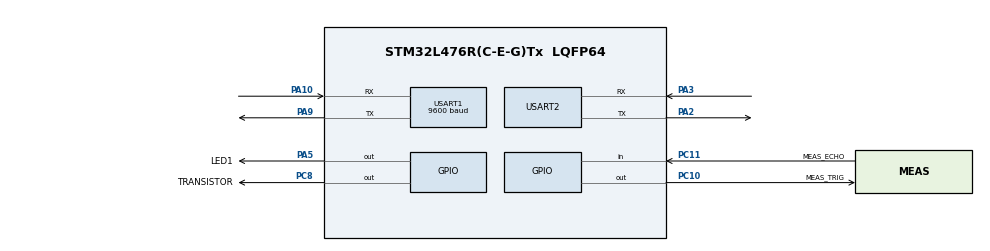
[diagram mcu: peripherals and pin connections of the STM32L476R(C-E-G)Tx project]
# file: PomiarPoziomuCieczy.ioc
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Mcu.Family=STM32L4
Mcu.Name=STM32L476R(C-E-G)Tx
Mcu.Package=LQFP64
NVIC.PriorityGroup=NVIC_PRIORITYGROUP_4
NVIC.RTC_WKUP_IRQn=true\:0\:0\:false\:false\:true\:true\:true\:true
NVIC.USART1_IRQn=true\:5\:0\:true\:false\:true\:true\:true\:true
PA10.Mode=Asynchronous
PA10.Signal=USART1_RX
PA13\ (JTMS-SWDIO).Mode=Serial_Wire
PA13\ (JTMS-SWDIO).Signal=SYS_JTMS-SWDIO
PA14\ (JTCK-SWCLK).Mode=Serial_Wire
PA14\ (JTCK-SWCLK).Signal=SYS_JTCK-SWCLK
PA2.Mode=Asynchronous
PA2.Signal=USART2_TX
PA3.Mode=Asynchronous
PA3.Signal=USART2_RX
PA5.GPIO_Label=LED1
PA5.Signal=GPIO_Output
PA9.Mode=Asynchronous
PA9.Signal=USART1_TX
PC10.GPIO_Label=MEAS_TRIG
PC10.Signal=GPIO_Output
PC11.GPIO_Label=MEAS_ECHO
PC11.GPIO_PuPd=GPIO_PULLDOWN
PC11.Signal=GPIO_Input
PC14-OSC32_IN\ (PC14).Mode=LSE-External-Oscillator
PC14-OSC32_IN\ (PC14).Signal=RCC_OSC32_IN
PC15-OSC32_OUT\ (PC15).Mode=LSE-External-Oscillator
PC15-OSC32_OUT\ (PC15).Signal=RCC_OSC32_OUT
PC8.GPIO_Label=TRANSISTOR
PC8.Signal=GPIO_Output
ProjectManager.HeapSize=0x200
ProjectManager.StackSize=0x400
ProjectManager.TargetToolchain=STM32CubeIDE
RCC.HSE_VALUE=8000000
RCC.HSI_VALUE=16000000
RCC.MSI_VALUE=4000000
RCC.RTCClockSelection=RCC_RTCCLKSOURCE_LSE
RCC.VCOOutputFreq_Value=32000000
RTC.WakeUpClock-WakeUp=RTC_WAKEUPCLOCK_CK_SPRE_16BITS
RTC.WakeUpCounter-WakeUp=3599
TIM6.Prescaler=3
USART1.BaudRate=9600
USART1.VirtualMode-Asynchronous=VM_ASYNC
USART2.VirtualMode-Asynchronous=VM_ASYNC
VP_RTC_VS_RTC_Activate.Mode=RTC_Enabled
VP_RTC_VS_RTC_WakeUp_intern.Mode=WakeUp
VP_TIM6_VS_ClockSourceINT.Mode=Enable_Timer
board=custom

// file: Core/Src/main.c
/* USER CODE BEGIN Header */
/**
  ******************************************************************************
  * @file           : main.c
  * @brief          : Main program body
  ******************************************************************************
  * @attention
  *
  * Copyright (c) 2023 STMicroelectronics.
  * All rights reserved.
  *
  * This software is licensed under terms that can be found in the LICENSE file
  * in the root directory of this software component.
  * If no LICENSE file comes with this software, it is provided AS-IS.
  *
  ******************************************************************************
  */
/* USER CODE END Header */
#include "main.h"
#include "rtc.h"
#include "tim.h"
#include "usart.h"
#include "gpio.h"

/* USER CODE BEGIN Includes */
#include <stdio.h>
/* USER CODE END Includes */

/* USER CODE BEGIN PD */
uint16_t MAX_DISTANCE_FROM_PROBE_CM;
uint16_t MIN_DISTANCE_FROM_PROBE_CM;
uint8_t  LoRaBufRX;
uint8_t  LoRaBufLongRX[5000];
uint16_t LoRaBufPosRX;

uint8_t test_GIT = 1;

uint8_t turnOffUART_flag = 0;

GPIO_InitTypeDef GPIO_BufStruct = {0};

volatile uint16_t __attribute__((section(".ram2"))) measurementsInterval = 19;
volatile uint32_t __attribute__((section(".ram2"))) isAfterResetFlag=1;

/*typedef struct {
	uint32_t testRAM2_val;
	uint32_t ARR[100];
}sram2_located_data;

sram2_located_data* sram2_data = (sram2_located_data*)SRAM2_BASE;	*/

char LORA_TEST_Conf[] = "AT+TEST=RFCFG,869.525,SF12,125,12,15,14,ON,OFF,OFF\r\n";//869.525
char LORA_TEST_TransmitContinuousLoRaSignal[] = "AT+TEST= TXCLORA\r\n";
char LORA_TEST_SendHex[] = "AT+TEST=TXLRPKT, ";
char LORA_TEST_SendString[] = "AT+TEST=TXLRSTR, \"LoRaWAN Modem\"\r\n";
char LORA_TEST_RX[] = "AT+TEST=RXLRPKT\r\n";
char LORA_RSSI_RSSI[] = "AT+TEST = RSSI, 869.525, 500\r\n";
char LORA_LOWPOWER[] = "AT+LOWPOWER\r\n";
char LORA_LOWPOWER_EXTR_ON[] = "AT+LOWPOWER=AUTOON\r\n";
char LORA_LOWPOWER_EXTR_OFF[] = {0xFF, 0xFF, 0xFF, 0xFF, 'A','T','+','L','O','W','P','O','W','E','R',0x3D,'A','U','T','O','O','F','F','\r','\n'};
char LORA_TEST_STOP[] = "AT+TEST=STOP\r\n";
char LORA_TEST_START[] = "AT+TEST=START\r\n";
char LORA_RESET[] = "AT+RESET\r\n";
/* USER CODE END PD */

void SystemClock_Config(void);

/* USER CODE BEGIN 0 */
uint16_t MEAS_meas_cm()
{
	HAL_GPIO_WritePin(MEAS_TRIG_GPIO_Port, MEAS_TRIG_Pin, GPIO_PIN_SET);
	HAL_TIM_Base_Start(&htim6);
	while(htim6.Instance->CNT < 10){} //MEAS_TRIG_Pin is HIGH for 10 us
	HAL_TIM_Base_Stop(&htim6);
	htim6.Instance->CNT = 0;
	HAL_GPIO_WritePin(MEAS_TRIG_GPIO_Port, MEAS_TRIG_Pin, GPIO_PIN_RESET); //MEAS_TRIG_Pin is LOW
	while(HAL_GPIO_ReadPin(MEAS_ECHO_GPIO_Port, MEAS_ECHO_Pin) == GPIO_PIN_RESET){} //Wait for ECHO_pin LOW
	HAL_TIM_Base_Start(&htim6);
	while(HAL_GPIO_ReadPin(MEAS_ECHO_GPIO_Port, MEAS_ECHO_Pin) == GPIO_PIN_SET){} //Wait for ECHO_pin is HIGH
	uint16_t measTime_us = htim6.Instance->CNT; //get time value
	HAL_TIM_Base_Stop(&htim6);
	htim6.Instance->CNT = 0;
	uint16_t distance_cm = measTime_us / 58; //count distance
	return distance_cm;
}

float MEAS_calculateAsPercent(uint16_t cmVal)
{
	return 100*((MIN_DISTANCE_FROM_PROBE_CM - MAX_DISTANCE_FROM_PROBE_CM) - (cmVal - MAX_DISTANCE_FROM_PROBE_CM))/(MIN_DISTANCE_FROM_PROBE_CM - MAX_DISTANCE_FROM_PROBE_CM);
}

void MEAS_measMaxDistance()
{
	MAX_DISTANCE_FROM_PROBE_CM = MEAS_meas_cm();
}

void MEAS_measMinDistance()
{
	MIN_DISTANCE_FROM_PROBE_CM = MEAS_meas_cm();
}

void MEAS_setMaxDistance(uint16_t maxVal)
{
	MAX_DISTANCE_FROM_PROBE_CM = maxVal;
}

void MEAS_setMinDistance(uint16_t minVal)
{
	MIN_DISTANCE_FROM_PROBE_CM = minVal;
}
/* USER CODE END 0 */

int main(void)
{
  /* USER CODE BEGIN 1 */
  GPIO_BufStruct.Mode = GPIO_MODE_INPUT;
  GPIO_BufStruct.Pull = GPIO_PULLDOWN;

  /* USER CODE END 1 */

  /* MCU Configuration--------------------------------------------------------*/

  /* Reset of all peripherals, Initializes the Flash interface and the Systick. */
  HAL_Init();

  /* Configure the system clock */
  SystemClock_Config();

  /* Initialize all configured peripherals */
  MX_GPIO_Init();
  MX_TIM6_Init();
  MX_USART2_UART_Init();
  MX_USART1_UART_Init();
  MX_RTC_Init();

  /* Infinite loop */
  /* USER CODE BEGIN WHILE */
  uint16_t resToSent;
  MIN_DISTANCE_FROM_PROBE_CM = 20;
  MAX_DISTANCE_FROM_PROBE_CM = 300;
  PWR->CR3 |= PWR_CR3_RRS;
  uint8_t buttonPressed;
  HAL_Delay(1000);
  HAL_UART_Receive_IT(&huart1, &LoRaBufRX, 1);
  //HAL_UART_Transmit_IT(&huart1, (uint8_t*)"A", 1); LORA_LOWPOWER_EXTR_OFF[]
  HAL_UART_Transmit_IT(&huart1, (uint8_t*)LORA_LOWPOWER_EXTR_OFF, sizeof(LORA_LOWPOWER_EXTR_OFF));
  HAL_Delay(500);
  HAL_UART_Transmit_IT(&huart1, (uint8_t*)LORA_TEST_START, strlen(LORA_TEST_START));
  HAL_Delay(500);
  HAL_UART_Transmit_IT(&huart1, (uint8_t*)"AT+MODE=TEST\r\n", 14);
  HAL_Delay(500);
  HAL_UART_Transmit_IT(&huart1, (uint8_t*)"AT+TEST=?\r\n", 11);
  HAL_Delay(500);
  HAL_UART_Transmit_IT(&huart1, LORA_TEST_Conf, strlen(LORA_TEST_Conf));
  //HAL_Delay(1000);
  //HAL_UART_Transmit_IT(&huart1, "AT+TEST=RXLRPKT\r\n", 17);
  HAL_Delay(1000);
  while (1)
  {
	  isAfterResetFlag = 1;
	  HAL_GPIO_WritePin(LED1_GPIO_Port, LED1_Pin, 1);
	  HAL_GPIO_WritePin(TRANSISTOR_GPIO_Port, TRANSISTOR_Pin, 1);
	  HAL_Delay(300);
	  uint8_t res = MEAS_meas_cm(); //MEAS_calculateAsPercent(MEAS_meas_cm());
	  	  	  ///HAL_UART_Transmit(&huart2, &(ram2Test), 1, HAL_MAX_DELAY);
	  HAL_Delay(1000);
	  HAL_GPIO_WritePin(TRANSISTOR_GPIO_Port, TRANSISTOR_Pin, 0);
	  MEAS_TRIG_GPIO_Port->MODER &= ~(GPIO_MODER_MEAS_TRIG_PIN);
	  //HAL_UART_Transmit_IT(&huart1, "AT+TEST=TXLRPKT, \"00 AA 11 BB 22 CC\"\r\n", strlen("AT+TEST=TXLRPKT, \"00 AA 11 BB 22 CC\"\r\n"));
	  HAL_Delay(50);
	  char LoRaFrame[200];
	  uint8_t len = sprintf(LoRaFrame, "AT+TEST=TXLRSTR,\"val: %i\"\r\n", (int)res);
	  HAL_UART_Transmit_IT(&huart1, (uint8_t*)LoRaFrame, len);
	  HAL_Delay(1800);//HAL_Delay(1000);
	  	  	  	  //HAL_UART_Transmit_IT(&huart1, (uint8_t*)LORA_TEST_STOP, strlen(LORA_TEST_STOP));
	  //turnOffUART_flag = 1;
	  if(1)
	  {
		  HAL_UART_Transmit_IT(&huart1, "AT+TEST=RXLRPKT\r\n", 17);
		  HAL_Delay(6000);
		  char* configDataRaw = strstr(LoRaBufLongRX, "56543D");
		  if(configDataRaw)
		  {
			char* configData = configDataRaw + 6;
			char hexFromFrame [9];
			for(uint8_t i = 0; i<8; i++)
			{
			  if((configData[i] >= '0' && configData[i] <= '9') || (configData[i] >= 'A' && configData[i] <= 'F'))
				hexFromFrame[i] = configData[i];
			  else
				break;
			}
			char hexToAscii[5] = {0,0,0,0,0};
			for(uint8_t i = 0; i<4; i++)
			{
				if(hexFromFrame[2*i] <= '9' && hexFromFrame[2*i] >= '0')
				{
				  hexToAscii[i] += 16 * (hexFromFrame[2*i] - '0');
				}
				if(hexFromFrame[2*i + 1] <= '9' && hexFromFrame[2*i + 1] >= '0')
				{
				  hexToAscii[i] += (hexFromFrame[2*i+1] - '0');
				}
			}
			uint16_t valFromUser = atoi(hexToAscii);
			measurementsInterval = 86400/valFromUser;
			HAL_RTCEx_DeactivateWakeUpTimer(&hrtc);
			if (HAL_RTCEx_SetWakeUpTimer_IT(&hrtc, measurementsInterval, RTC_WAKEUPCLOCK_CK_SPRE_16BITS) != HAL_OK)
			{
			  Error_Handler();
			}
		  }
		  HAL_UART_Transmit_IT(&huart1,"AT+TEST=TXLRSTR,\"ok\"\r\n",strlen("AT+TEST=TXLRSTR,\"ok\"\r\n"));
		  HAL_Delay(500);

	  }
// 	  HAL_UART_Transmit_IT(&huart1, (uint8_t*)LORA_LOWPOWER_EXTR_ON, strlen(LORA_LOWPOWER_EXTR_ON));
	  HAL_Delay(200);
	  //HAL_UART_Transmit_IT(&huart1, (uint8_t*)LORA_LOWPOWER_EXTR_ON, strlen(LORA_LOWPOWER_EXTR_ON));
	  HAL_GPIO_WritePin(LED1_GPIO_Port, LED1_Pin, 0);
	  HAL_Delay(200);
	  HAL_PWR_EnterSTANDBYMode();
	  //HAL_UART_Transmit_IT(&huart1, LORA_RSSI, strlen(LORA_RSSI));
//	  HAL_Delay(1000);
	  //HAL_GPIO_TogglePin(LED1_GPIO_Port, LED1_Pin);

	 // HAL_UART_Transmit_IT(&huart1, "AT+TEST=RXLRPKT\r\n", 17);

//	  if(!(HAL_GPIO_ReadPin(BUTTON_GPIO_Port, BUTTON_Pin)))
//	  {
//		  buttonPressed++;
//	  }
//	  else
//	  {
//		  if(buttonPressed > 9)
//		  {
//			  MEAS_measMaxDistance();
//		  }
//		  else if(buttonPressed>4)
//		  {
//			  MEAS_measMinDistance();
//		  }
//
//		  buttonPressed = 0;
//	  }
    /* USER CODE END WHILE */

  }
}

void SystemClock_Config(void)
{
  RCC_OscInitTypeDef RCC_OscInitStruct = {0};
  RCC_ClkInitTypeDef RCC_ClkInitStruct = {0};

  /** Configure the main internal regulator output voltage
  */
  if (HAL_PWREx_ControlVoltageScaling(PWR_REGULATOR_VOLTAGE_SCALE1) != HAL_OK)
  {
    Error_Handler();
  }

  /** Configure LSE Drive Capability
  */
  HAL_PWR_EnableBkUpAccess();
  __HAL_RCC_LSEDRIVE_CONFIG(RCC_LSEDRIVE_LOW);

  /** Initializes the RCC Oscillators according to the specified parameters
  * in the RCC_OscInitTypeDef structure.
  */
  RCC_OscInitStruct.OscillatorType = RCC_OSCILLATORTYPE_LSE|RCC_OSCILLATORTYPE_MSI;
  RCC_OscInitStruct.LSEState = RCC_LSE_ON;
  RCC_OscInitStruct.MSIState = RCC_MSI_ON;
  RCC_OscInitStruct.MSICalibrationValue = 0;
  RCC_OscInitStruct.MSIClockRange = RCC_MSIRANGE_6;
  RCC_OscInitStruct.PLL.PLLState = RCC_PLL_NONE;
  if (HAL_RCC_OscConfig(&RCC_OscInitStruct) != HAL_OK)
  {
    Error_Handler();
  }

  /** Initializes the CPU, AHB and APB buses clocks
  */
  RCC_ClkInitStruct.ClockType = RCC_CLOCKTYPE_HCLK|RCC_CLOCKTYPE_SYSCLK
                              |RCC_CLOCKTYPE_PCLK1|RCC_CLOCKTYPE_PCLK2;
  RCC_ClkInitStruct.SYSCLKSource = RCC_SYSCLKSOURCE_MSI;
  RCC_ClkInitStruct.AHBCLKDivider = RCC_SYSCLK_DIV1;
  RCC_ClkInitStruct.APB1CLKDivider = RCC_HCLK_DIV1;
  RCC_ClkInitStruct.APB2CLKDivider = RCC_HCLK_DIV1;

  if (HAL_RCC_ClockConfig(&RCC_ClkInitStruct, FLASH_LATENCY_0) != HAL_OK)
  {
    Error_Handler();
  }

  /** Enable MSI Auto calibration
  */
  HAL_RCCEx_EnableMSIPLLMode();
}

/* USER CODE BEGIN 4 */
void HAL_UART_TxCpltCallback(UART_HandleTypeDef *huart)
{
	if(huart == &huart1)
	{
		if(turnOffUART_flag)
		{
			turnOffUART_flag = 0;
			HAL_UART_DeInit(&huart1);
			GPIO_BufStruct.Pin =GPIO_PIN_9|GPIO_PIN_10;
			HAL_GPIO_Init(GPIOA, &GPIO_BufStruct);
		}
	}

}

void HAL_UART_RxCpltCallback(UART_HandleTypeDef *UartHandle)
{
	if(UartHandle == &huart1)
	{
		LoRaBufLongRX[LoRaBufPosRX++] = LoRaBufRX;
		HAL_UART_Receive_IT(&huart1, &LoRaBufRX, 1);

		HAL_UART_Transmit(&huart2, &LoRaBufRX, 1, HAL_MAX_DELAY);
		//HAL_UART_Transmit(&huart2, "\r\n", 2, HAL_MAX_DELAY);
	}
}

/* USER CODE END 4 */

void Error_Handler(void)
{
  __disable_irq();
  while (1)
  {
  }
}
